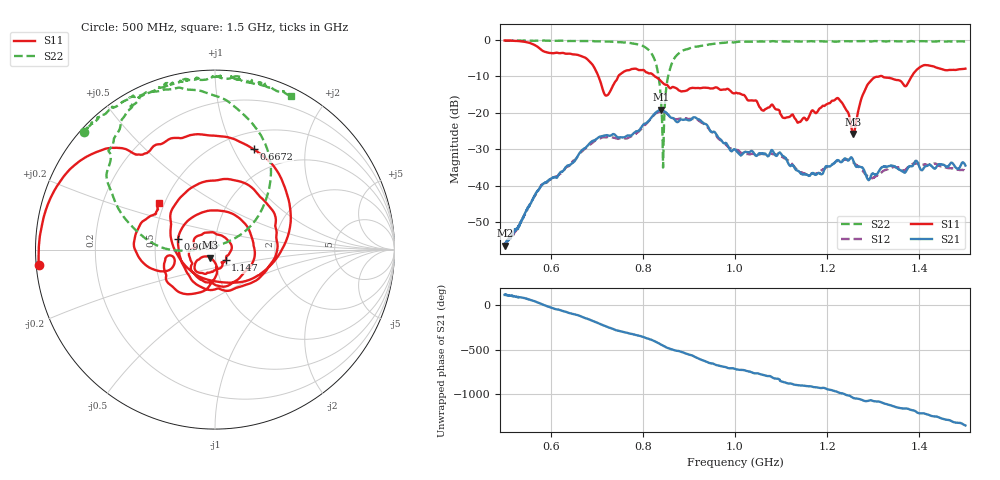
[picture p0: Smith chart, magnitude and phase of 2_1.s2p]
!Agilent Technologies,E8364B,US42250235,A.06.04.32
!Agilent E8364B: A.06.04.32
!Date: Thursday, October 01, 2020 10:57:31
!Correction: S11(Full 2 Port(1,2)) S21(Full 2 Port(1,2)) S12(Full 2 Port(1,2)) S22(Full 2 Port(1,2))
!S2P File: Measurements: S11, S21, S12, S22:
# Hz S  dB  R 50
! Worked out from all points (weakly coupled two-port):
!   2650 points, 500 MHz to 1.5 GHz, reference 50 ohm
!   highest |S21| = -19.14 dB at 839 MHz (marker M1); lowest = -56.5 dB at 500.8 MHz (marker M2)
!   lowest |S11| = -25.8 dB at 1.257 GHz (marker M3), VSWR 1.11, Z = 47.3 - j4.21 ohm
!   |S11| at or under -10 dB: 703.7 MHz to 746.6 MHz (42.85 MHz wide, 5.91 % of centre); 826.2 MHz to 1.313 GHz (486.7 MHz wide, 45.5 % of centre); 1.32 GHz to 1.383 GHz (63.07 MHz wide, 4.67 % of centre)
!   |S22| runs from -35.0 to -0.1 dB; largest |S21 - S12| = 0.013
!   S11 on the Smith chart (normalised r, x): 500 MHz: 0.01, -0.04; 667.2 MHz: 0.69, +1.20; 900.5 MHz: 0.66, +0.08; 1.147 GHz: 1.12, -0.13; 1.5 GHz: 0.47, +0.29
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5e8  -0.12 -175.1  -56.45 117.5  -56.26 118.9  -0.17 138.1
5.00755e8  -0.12 -175.5  -56.48 115.2  -56.51 115.9  -0.17 138.0
5.671952e8  -1.50 138.9  -42.33 40.9  -42.49 40.6  -0.20 132.0
6.668554e8  -4.44 69.5  -30.39 -127.3  -30.72 -132.6  -0.27 119.2
6.672329e8  -4.45 69.0  -30.31 -128.2  -30.68 -133.3  -0.26 119.3
7.114005e8  -12.90 -53.5  -26.42 140.9  -26.81 136.8  -0.40 115.9
7.397131e8  -11.49 158.7  -26.05 84.1  -26.91 82.5  -0.55 110.4
7.733107e8  -8.08 84.0  -26.34 40.3  -26.58 38.3  -0.83 100.4
8.337108e8  -10.62 -31.7  -19.40 -65.2  -19.82 -66.8  -9.67 39.5
8.389958e8  -11.25 -42.9  -19.14 -80.3  -19.33 -80.9  -15.67 30.3
8.454134e8  -12.02 -55.1  -19.56 -98.7  -19.71 -99.7  -25.41 173.3
8.654209e8  -12.88 -100.1  -21.44 -138.6  -21.48 -139.1  -5.65 161.5
9.005285e8  -13.39 163.7  -22.08 166.4  -21.69 160.1  -2.34 139.8
9.522461e8  -13.30 5.4  -25.23 65.2  -25.39 59.6  -1.06 126.4
1.000189e9  -14.58 -101.5  -30.10 4.9  -30.09 1.3  -0.62 117.6
1.147037e9  -21.57 -45.0  -36.91 178.8  -36.47 178.4  -0.38 100.3
1.166667e9  -19.39 -73.2  -36.62 168.4  -36.75 166.1  -0.32 100.6
1.224047e9  -16.01 -134.6  -33.01 102.3  -33.21 101.3  -0.40 91.8
1.256889e9  -25.79 -120.2  -33.15 39.2  -33.65 41.5  -0.32 89.5
1.288977e9  -12.02 -108.6  -38.39 7.5  -37.45 4.6  -0.37 88.4
1.333522e9  -10.36 -159.2  -34.63 -35.9  -35.37 -33.6  -0.30 81.4
1.5e9  -7.86 140.4  -34.47 91.3  -35.82 94.9  -0.39 63.6
